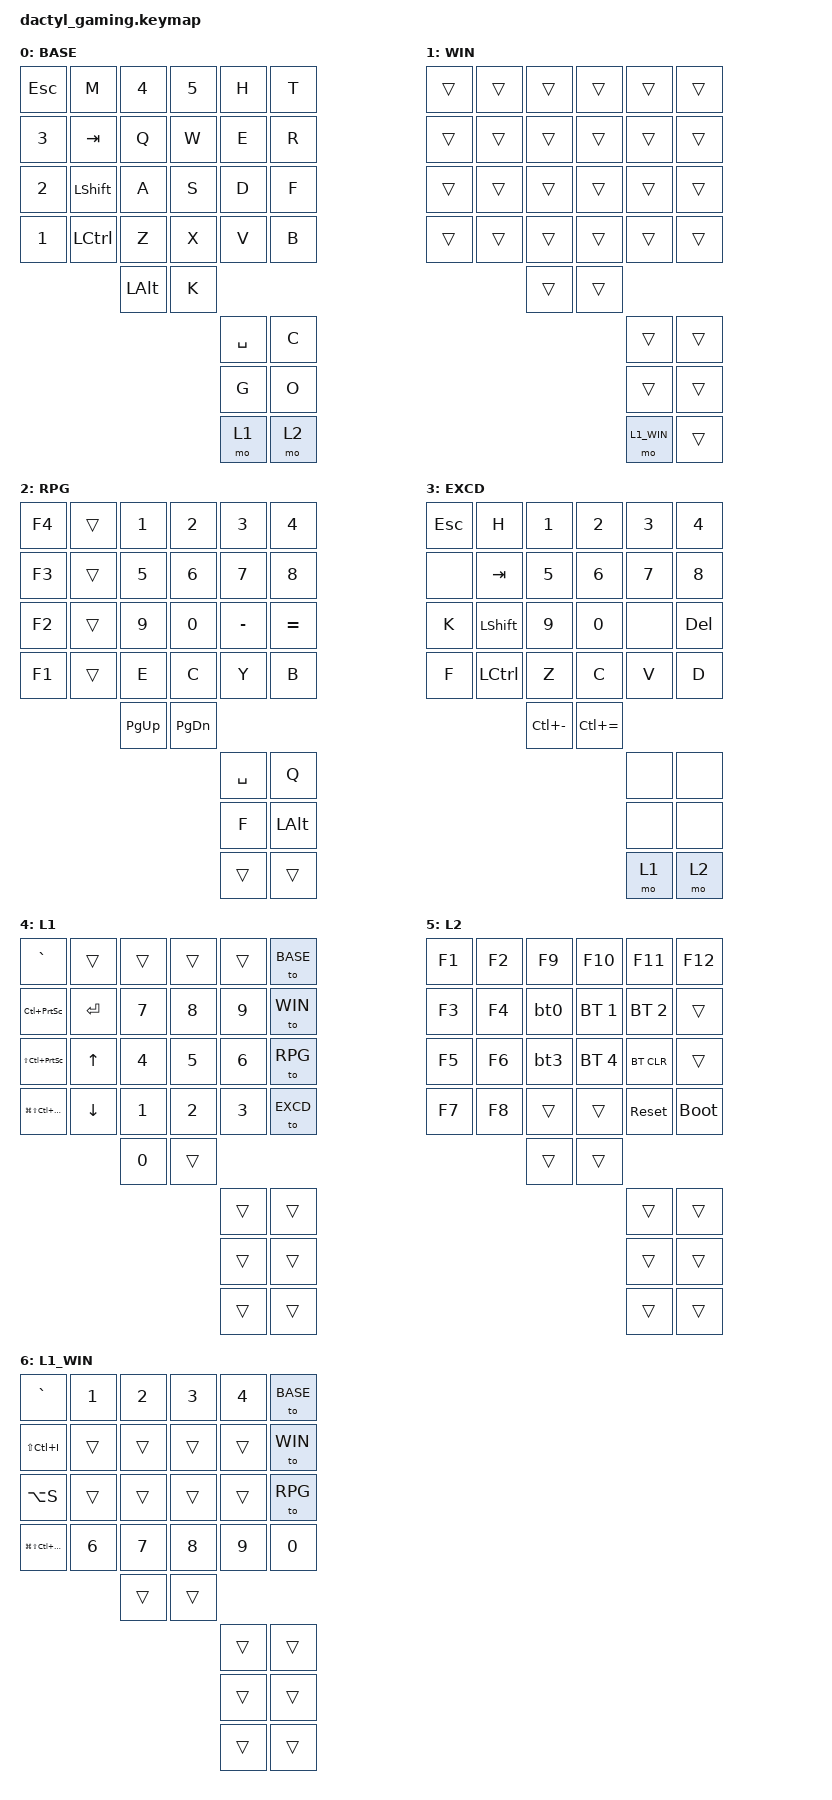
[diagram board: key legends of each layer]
/*
 * Copyright (c) 2020 The ZMK Contributors
 *
 * SPDX-License-Identifier: MIT
 */

#include <behaviors.dtsi>
#include <dt-bindings/zmk/bt.h>
#include <dt-bindings/zmk/ext_power.h>
#include <dt-bindings/zmk/keys.h>
#include <dt-bindings/zmk/outputs.h>

#define BASE 0
#define WIN 1
#define RPG 2
/* Excalidraw */
#define EXCD 3
#define L1 4
#define L2 5
#define L1_WIN 6

#define KILL    LG(LS(Q))
#define SCR_PIC LC(PSCRN)
#define SCR_VID LS(LC(PSCRN))
#define STM_OVR LG(LS(LC(LA(PSCRN))))
#define SCR_PIC_WIN LS(LC(I))
#define SCR_VID_WIN LA(S)
#define MAP LA(M)
#define ZOOM_IN LC(EQUAL)
#define ZOOM_OUT LC(MINUS)

&caps_word {
    continue-list = <UNDERSCORE MINUS>;
};

/ {
    macros {
        bt0: bt_0 {
            label = "BT_0";
            compatible = "zmk,behavior-macro";
            #binding-cells = <0>;
            bindings = <&to BASE &bt BT_SEL 0 &tog L2>;
        };
        bt3: bt_3_win {
            label = "BT_3_WIN";
            compatible = "zmk,behavior-macro";
            #binding-cells = <0>;
            bindings = <&to WIN &bt BT_SEL 3 &tog L2>;
        };
    };

    keymap {
        compatible = "zmk,keymap";

        BASE {
            bindings = <
//    ┌─────┬───────┬──────┬───┬─────┬────┐
//    │ esc │   M   │  4   │ 5 │  H  │ T  │
//    ├─────┼───────┼──────┼───┼─────┼────┤
//    │  3  │  tab  │  Q   │ W │  E  │ R  │
//    ├─────┼───────┼──────┼───┼─────┼────┤
//    │  2  │ lshft │  A   │ S │  D  │ F  │
//    ├─────┼───────┼──────┼───┼─────┼────┤
//    │  1  │ lctrl │  Z   │ X │  V  │ B  │
//    └─────┴───────┼──────┼───┼─────┴────┘
//                  │ lalt │ K │
//                  └──────┴───┼─────┬────┐
//                             │ spc │ C  │
//                             ├─────┼────┤
//                             │  G  │ O  │
//                             ├─────┼────┤
//                             │ L1  │ L2 │
//                             └─────┴────┘
  &kp ESC   &kp M       &kp N4     &kp N5   &kp H       &kp T
  &kp N3    &kp TAB     &kp Q      &kp W    &kp E       &kp R
  &kp N2    &kp LSHFT   &kp A      &kp S    &kp D       &kp F
  &kp N1    &kp LCTRL   &kp Z      &kp X    &kp V       &kp B
                        &kp LALT   &kp K
                                            &kp SPACE   &kp C
                                            &kp G       &kp O
                                            &mo L1      &mo L2
            >;
        };
        WIN {
            bindings = <
//    ┌────┬────┬────┬────┬────────┬────┐
//    │    │    │    │    │        │    │
//    ├────┼────┼────┼────┼────────┼────┤
//    │    │    │    │    │        │    │
//    ├────┼────┼────┼────┼────────┼────┤
//    │    │    │    │    │        │    │
//    ├────┼────┼────┼────┼────────┼────┤
//    │    │    │    │    │        │    │
//    └────┴────┼────┼────┼────────┴────┘
//              │    │    │
//              └────┴────┼────────┬────┐
//                        │        │    │
//                        ├────────┼────┤
//                        │        │    │
//                        ├────────┼────┤
//                        │ L1_WIN │    │
//                        └────────┴────┘
  &trans   &trans   &trans   &trans   &trans       &trans
  &trans   &trans   &trans   &trans   &trans       &trans
  &trans   &trans   &trans   &trans   &trans       &trans
  &trans   &trans   &trans   &trans   &trans       &trans
                    &trans   &trans
                                      &trans       &trans
                                      &trans       &trans
                                      &mo L1_WIN   &trans
            >;
        };
        RPG {
            bindings = <
//    ┌────┬────┬──────┬──────┬─────┬──────┐
//    │ f4 │    │  1   │  2   │  3  │  4   │
//    ├────┼────┼──────┼──────┼─────┼──────┤
//    │ f3 │    │  5   │  6   │  7  │  8   │
//    ├────┼────┼──────┼──────┼─────┼──────┤
//    │ f2 │    │  9   │  0   │  -  │  =   │
//    ├────┼────┼──────┼──────┼─────┼──────┤
//    │ f1 │    │  E   │  C   │  Y  │  B   │
//    └────┴────┼──────┼──────┼─────┴──────┘
//              │ pgup │ pgdn │
//              └──────┴──────┼─────┬──────┐
//                            │ spc │  Q   │
//                            ├─────┼──────┤
//                            │  F  │ lalt │
//                            ├─────┼──────┤
//                            │     │      │
//                            └─────┴──────┘
  &kp F4   &trans   &kp N1      &kp N2      &kp N3      &kp N4
  &kp F3   &trans   &kp N5      &kp N6      &kp N7      &kp N8
  &kp F2   &trans   &kp N9      &kp N0      &kp MINUS   &kp EQUAL
  &kp F1   &trans   &kp E       &kp C       &kp Y       &kp B
                    &kp PG_UP   &kp PG_DN
                                            &kp SPACE   &kp Q
                                            &kp F       &kp LALT
                                            &trans      &trans
            >;
        };
        EXCD {
            bindings = <
//    ┌─────┬───────┬──────────┬─────────┬─────┬─────┐
//    │ esc │   H   │    1     │    2    │  3  │  4  │
//    ├─────┼───────┼──────────┼─────────┼─────┼─────┤
//    │     │  tab  │    5     │    6    │  7  │  8  │
//    ├─────┼───────┼──────────┼─────────┼─────┼─────┤
//    │  K  │ lshft │    9     │    0    │     │ del │
//    ├─────┼───────┼──────────┼─────────┼─────┼─────┤
//    │  F  │ lctrl │    Z     │    C    │  V  │  D  │
//    └─────┴───────┼──────────┼─────────┼─────┴─────┘
//                  │ ZOOM_out │ ZOOM_IN │
//                  └──────────┴─────────┼─────┬─────┐
//                                       │     │     │
//                                       ├─────┼─────┤
//                                       │     │     │
//                                       ├─────┼─────┤
//                                       │ L1  │ L2  │
//                                       └─────┴─────┘
  &kp ESC   &kp H       &kp N1         &kp N2        &kp N3   &kp N4
  &none     &kp TAB     &kp N5         &kp N6        &kp N7   &kp N8
  &kp K     &kp LSHFT   &kp N9         &kp N0        &none    &kp DEL
  &kp F     &kp LCTRL   &kp Z          &kp C         &kp V    &kp D
                        &kp ZOOM_OUT   &kp ZOOM_IN
                                                     &none    &none
                                                     &none    &none
                                                     &mo L1   &mo L2
            >;
        };
        L1 {
            bindings = <
//    ┌─────────┬──────┬────┬────┬────┬─────────┐
//    │    `    │      │    │    │    │ to BASE │
//    ├─────────┼──────┼────┼────┼────┼─────────┤
//    │ SCR_PIC │ ent  │ 7  │ 8  │ 9  │ to WIN  │
//    ├─────────┼──────┼────┼────┼────┼─────────┤
//    │ SCR_VID │  up  │ 4  │ 5  │ 6  │ to RPG  │
//    ├─────────┼──────┼────┼────┼────┼─────────┤
//    │ STM_OVR │ down │ 1  │ 2  │ 3  │ to EXCD │
//    └─────────┴──────┼────┼────┼────┴─────────┘
//                     │ 0  │    │
//                     └────┴────┼────┬─────────┐
//                               │    │         │
//                               ├────┼─────────┤
//                               │    │         │
//                               ├────┼─────────┤
//                               │    │         │
//                               └────┴─────────┘
  &kp GRAVE     &trans      &trans   &trans   &trans   &to BASE
  &kp SCR_PIC   &kp ENTER   &kp N7   &kp N8   &kp N9   &to WIN
  &kp SCR_VID   &kp UP      &kp N4   &kp N5   &kp N6   &to RPG
  &kp STM_OVR   &kp DOWN    &kp N1   &kp N2   &kp N3   &to EXCD
                            &kp N0   &trans
                                              &trans   &trans
                                              &trans   &trans
                                              &trans   &trans
            >;
        };
        L2 {
            bindings = <
//    ┌────┬────┬──────┬───────┬───────┬──────┐
//    │ f1 │ f2 │  f9  │  f10  │  f11  │ f12  │
//    ├────┼────┼──────┼───────┼───────┼──────┤
//    │ f3 │ f4 │ &bt0 │ bt> 1 │ bt> 2 │      │
//    ├────┼────┼──────┼───────┼───────┼──────┤
//    │ f5 │ f6 │ &bt3 │ bt> 4 │  clr  │      │
//    ├────┼────┼──────┼───────┼───────┼──────┤
//    │ f7 │ f8 │      │       │ rsftT │ BOOT │
//    └────┴────┼──────┼───────┼───────┴──────┘
//              │      │       │
//              └──────┴───────┼───────┬──────┐
//                             │       │      │
//                             ├───────┼──────┤
//                             │       │      │
//                             ├───────┼──────┤
//                             │       │      │
//                             └───────┴──────┘
  &kp F1   &kp F2   &kp F9   &kp F10        &kp F11        &kp F12
  &kp F3   &kp F4   &bt0     &bt BT_SEL 1   &bt BT_SEL 2   &trans
  &kp F5   &kp F6   &bt3     &bt BT_SEL 4   &bt BT_CLR     &trans
  &kp F7   &kp F8   &trans   &trans         &sys_reset     &bootloader
                    &trans   &trans
                                            &trans         &trans
                                            &trans         &trans
                                            &trans         &trans
            >;
        };
        L1_WIN {
            bindings = <
//    ┌─────────────┬────┬────┬────┬────┬─────────┐
//    │      `      │ 1  │ 2  │ 3  │ 4  │ to BASE │
//    ├─────────────┼────┼────┼────┼────┼─────────┤
//    │ SCR_PIC_WIN │    │    │    │    │ to WIN  │
//    ├─────────────┼────┼────┼────┼────┼─────────┤
//    │ SCR_VID_WIN │    │    │    │    │ to RPG  │
//    ├─────────────┼────┼────┼────┼────┼─────────┤
//    │   STM_OVR   │ 6  │ 7  │ 8  │ 9  │    0    │
//    └─────────────┴────┼────┼────┼────┴─────────┘
//                       │    │    │
//                       └────┴────┼────┬─────────┐
//                                 │    │         │
//                                 ├────┼─────────┤
//                                 │    │         │
//                                 ├────┼─────────┤
//                                 │    │         │
//                                 └────┴─────────┘
  &kp GRAVE         &kp N1   &kp N2   &kp N3   &kp N4   &to BASE
  &kp SCR_PIC_WIN   &trans   &trans   &trans   &trans   &to WIN
  &kp SCR_VID_WIN   &trans   &trans   &trans   &trans   &to RPG
  &kp STM_OVR       &kp N6   &kp N7   &kp N8   &kp N9   &kp N0
                             &trans   &trans
                                               &trans   &trans
                                               &trans   &trans
                                               &trans   &trans
            >;
        };
    };
};
